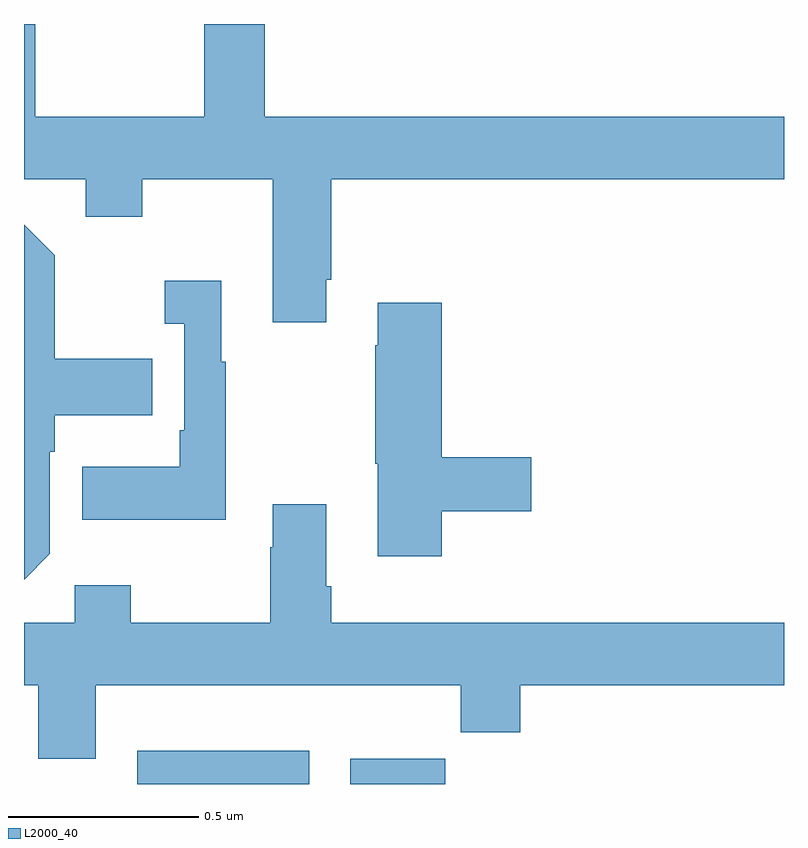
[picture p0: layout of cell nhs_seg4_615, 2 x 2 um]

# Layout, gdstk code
import gdstk
lib = gdstk.Library(unit=1e-6, precision=1e-09)
def R(c, l, rs):  # rectangles x0, y0, x1, y1
    for r in rs: c.add(gdstk.rectangle(r[:2], r[2:], *l))
def P(c, l, *ps):  # polygons
    for p in ps: c.add(gdstk.Polygon(p, *l))
L2000_40 = (2000, 40)

nhs_seg4_615 = lib.new_cell('nhs_seg4_615')
R(nhs_seg4_615, L2000_40, [(118.298,789.9,118.75,789.988), (118.859,789.9,119.108,789.967)])
P(nhs_seg4_615, L2000_40, [(118.795,791.227),(118.808,791.227),(118.808,791.492),(120,791.492),(120,791.656),(118.634,791.656),(118.634,791.9),(118.474,791.9),(118.474,791.656),(118.029,791.656),(118.029,791.9),(118,791.9),(118,791.492),(118.163,791.492),(118.163,791.393),(118.311,791.393),(118.311,791.492),(118.655,791.492),(118.655,791.115),(118.795,791.115)],
  [(118.068,790.506),(118.068,790.775),(118.081,790.775),(118.081,790.871),(118.337,790.871),(118.337,791.019),(118.081,791.019),(118.081,791.291),(118,791.372),(118,790.438)],
  [(118.531,791.011),(118.519,791.011),(118.519,791.224),(118.371,791.224),(118.371,791.111),(118.422,791.111),(118.422,790.831),(118.41,790.831),(118.41,790.735),(118.153,790.735),(118.153,790.595),(118.531,790.595)],
  [(119.099,790.618),(119.335,790.618),(119.335,790.76),(119.099,790.76),(119.099,791.167),(118.931,791.167),(118.931,791.054),(118.924,791.054),(118.924,790.743),(118.931,790.743),(118.931,790.5),(119.099,790.5)],
  [(118.189,790.16),(119.149,790.16),(119.149,790.036),(119.306,790.036),(119.306,790.16),(120,790.16),(120,790.324),(118.808,790.324),(118.808,790.42),(118.795,790.42),(118.795,790.636),(118.655,790.636),(118.655,790.523),(118.648,790.523),(118.648,790.324),(118.281,790.324),(118.281,790.423),(118.134,790.423),(118.134,790.324),(118,790.324),(118,790.16),(118.037,790.16),(118.037,789.966),(118.189,789.966)])

lib.write_gds('nhs_seg4_615.gds')
